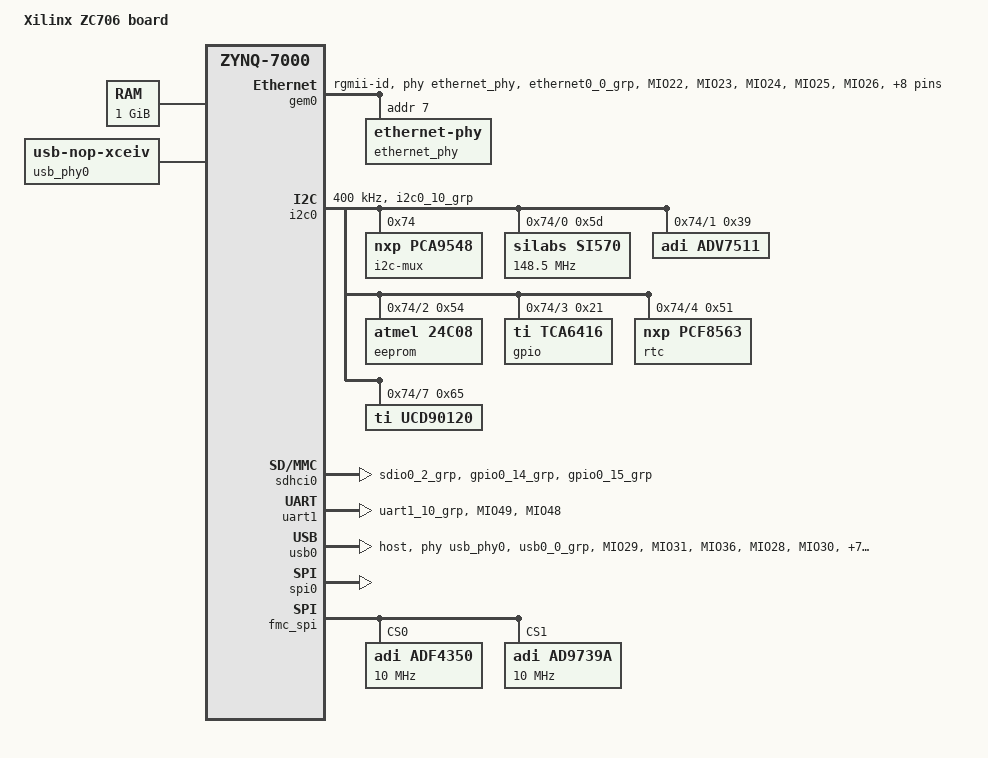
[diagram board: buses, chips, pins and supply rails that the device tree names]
// SPDX-License-Identifier: GPL-2.0
/*
 *  Copyright (C) 2011 - 2014 Xilinx
 *  Copyright (C) 2012 National Instruments Corp.
 */
/dts-v1/;
#include "zynq-7000.dtsi"
#include <dt-bindings/interrupt-controller/irq.h>

/ {
	model = "Xilinx ZC706 board";
	compatible = "xlnx,zynq-zc706", "xlnx,zynq-7000";

	aliases {
		ethernet0 = &gem0;
		i2c0 = &i2c0;
		serial0 = &uart1;
		mmc0 = &sdhci0;
	};

	memory@0 {
		device_type = "memory";
		reg = <0x0 0x40000000>;
	};

	chosen {
		bootargs = "";
		stdout-path = "serial0:115200n8";
	};

	usb_phy0: phy0 {
		compatible = "usb-nop-xceiv";
		#phy-cells = <0>;
	};
};

&clkc {
	ps-clk-frequency = <33333333>;
};

&gem0 {
	status = "okay";
	phy-mode = "rgmii-id";
	phy-handle = <&ethernet_phy>;
	pinctrl-names = "default";
	pinctrl-0 = <&pinctrl_gem0_default>;

	ethernet_phy: ethernet-phy@7 {
		reg = <7>;
		device_type = "ethernet-phy";
	};
};

&gpio0 {
	pinctrl-names = "default";
	pinctrl-0 = <&pinctrl_gpio0_default>;
};

&i2c0 {
	status = "okay";
	clock-frequency = <400000>;
	pinctrl-names = "default";
	pinctrl-0 = <&pinctrl_i2c0_default>;

	i2c-mux@74 {
		compatible = "nxp,pca9548";
		#address-cells = <1>;
		#size-cells = <0>;
		reg = <0x74>;

		i2c@0 {
			#address-cells = <1>;
			#size-cells = <0>;
			reg = <0>;
			si570: clock-generator@5d {
				#clock-cells = <0>;
				compatible = "silabs,si570";
				temperature-stability = <50>;
				reg = <0x5d>;
				factory-fout = <156250000>;
				clock-frequency = <148500000>;
			};
		};

		i2c@1 {
			#address-cells = <1>;
			#size-cells = <0>;
			reg = <1>;
			adv7511: hdmi-tx@39 {
				compatible = "adi,adv7511";
				reg = <0x39>;
				adi,input-depth = <8>;
				adi,input-colorspace = "yuv422";
				adi,input-clock = "1x";
				adi,input-style = <3>;
				adi,input-justification = "evenly";
			};
		};

		i2c@2 {
			#address-cells = <1>;
			#size-cells = <0>;
			reg = <2>;
			eeprom@54 {
				compatible = "atmel,24c08";
				reg = <0x54>;
			};
		};

		i2c@3 {
			#address-cells = <1>;
			#size-cells = <0>;
			reg = <3>;
			gpio@21 {
				compatible = "ti,tca6416";
				reg = <0x21>;
				gpio-controller;
				#gpio-cells = <2>;
			};
		};

		i2c@4 {
			#address-cells = <1>;
			#size-cells = <0>;
			reg = <4>;
			rtc@51 {
				compatible = "nxp,pcf8563";
				reg = <0x51>;
			};
		};

		i2c@7 {
			#address-cells = <1>;
			#size-cells = <0>;
			reg = <7>;
			ucd90120@65 {
				compatible = "ti,ucd90120";
				reg = <0x65>;
			};
		};
	};
};

&pinctrl0 {
	pinctrl_gem0_default: gem0-default {
		mux {
			function = "ethernet0";
			groups = "ethernet0_0_grp";
		};

		conf {
			groups = "ethernet0_0_grp";
			slew-rate = <0>;
			io-standard = <4>;
		};

		conf-rx {
			pins = "MIO22", "MIO23", "MIO24", "MIO25", "MIO26", "MIO27";
			bias-high-impedance;
			low-power-disable;
		};

		conf-tx {
			pins = "MIO16", "MIO17", "MIO18", "MIO19", "MIO20", "MIO21";
			low-power-enable;
			bias-disable;
		};

		mux-mdio {
			function = "mdio0";
			groups = "mdio0_0_grp";
		};

		conf-mdio {
			groups = "mdio0_0_grp";
			slew-rate = <0>;
			io-standard = <1>;
			bias-disable;
		};
	};

	pinctrl_gpio0_default: gpio0-default {
		mux {
			function = "gpio0";
			groups = "gpio0_7_grp", "gpio0_46_grp", "gpio0_47_grp";
		};

		conf {
			groups = "gpio0_7_grp", "gpio0_46_grp", "gpio0_47_grp";
			slew-rate = <0>;
			io-standard = <1>;
		};

		conf-pull-up {
			pins = "MIO46", "MIO47";
			bias-pull-up;
		};

		conf-pull-none {
			pins = "MIO7";
			bias-disable;
		};
	};

	pinctrl_i2c0_default: i2c0-default {
		mux {
			groups = "i2c0_10_grp";
			function = "i2c0";
		};

		conf {
			groups = "i2c0_10_grp";
			bias-pull-up;
			slew-rate = <0>;
			io-standard = <1>;
		};
	};

	pinctrl_sdhci0_default: sdhci0-default {
		mux {
			groups = "sdio0_2_grp";
			function = "sdio0";
		};

		conf {
			groups = "sdio0_2_grp";
			slew-rate = <0>;
			io-standard = <1>;
			bias-disable;
		};

		mux-cd {
			groups = "gpio0_14_grp";
			function = "sdio0_cd";
		};

		conf-cd {
			groups = "gpio0_14_grp";
			bias-high-impedance;
			bias-pull-up;
			slew-rate = <0>;
			io-standard = <1>;
		};

		mux-wp {
			groups = "gpio0_15_grp";
			function = "sdio0_wp";
		};

		conf-wp {
			groups = "gpio0_15_grp";
			bias-high-impedance;
			bias-pull-up;
			slew-rate = <0>;
			io-standard = <1>;
		};
	};

	pinctrl_uart1_default: uart1-default {
		mux {
			groups = "uart1_10_grp";
			function = "uart1";
		};

		conf {
			groups = "uart1_10_grp";
			slew-rate = <0>;
			io-standard = <1>;
		};

		conf-rx {
			pins = "MIO49";
			bias-high-impedance;
		};

		conf-tx {
			pins = "MIO48";
			bias-disable;
		};
	};

	pinctrl_usb0_default: usb0-default {
		mux {
			groups = "usb0_0_grp";
			function = "usb0";
		};

		conf {
			groups = "usb0_0_grp";
			slew-rate = <0>;
			io-standard = <1>;
		};

		conf-rx {
			pins = "MIO29", "MIO31", "MIO36";
			bias-high-impedance;
		};

		conf-tx {
			pins = "MIO28", "MIO30", "MIO32", "MIO33", "MIO34",
			       "MIO35", "MIO37", "MIO38", "MIO39";
			bias-disable;
		};
	};
};

&sdhci0 {
	status = "okay";
	pinctrl-names = "default";
	pinctrl-0 = <&pinctrl_sdhci0_default>;
};

&uart1 {
	status = "okay";
	pinctrl-names = "default";
	pinctrl-0 = <&pinctrl_uart1_default>;
};

&usb0 {
	status = "okay";
	dr_mode = "host";
	usb-phy = <&usb_phy0>;
	pinctrl-names = "default";
	pinctrl-0 = <&pinctrl_usb0_default>;
};

&spi0 {
	status = "okay";
};

#define fmc_spi spi0

/{
	adf4350_clkin: adf4350_clkin {
		compatible = "fixed-clock";
		#clock-cells = <0>;
		clock-frequency = <25000000>;
	};

	adf4350_clkout: adf4350_clkout {
		compatible = "fixed-clock";
		#clock-cells = <0>;
		clock-frequency = <2500000000>;
	};
};

&amba {
	tx_dma: tx-dmac@7c420000 {
		compatible = "adi,axi-dmac-1.00.a";
		reg = <0x7c420000 0x1000>;
		#dma-cells = <1>;
		interrupts = <0 56 IRQ_TYPE_LEVEL_HIGH>;
		clocks = <&clkc 16>;

		adi,channels {
			#size-cells = <0>;
			#address-cells = <1>;

			dma-channel@0 {
				reg = <0>;
				adi,source-bus-width = <256>;
				adi,source-bus-type = <0>;
				adi,destination-bus-width = <256>;
				adi,destination-bus-type = <2>;
			};
		};
	};

	axi_ad9739a_core: axi-ad9739a-lpc@74204000 {
		compatible = "adi,axi-dac-9.1.b";
		reg = < 0x74204000 0x4000 >;
		dmas = <&tx_dma 0>;
		dma-names = "tx";
		clocks = <&clkc 16>;
	};
};

&fmc_spi {
	adf4350: adf4350@0 {
		#address-cells = <1>;
		#size-cells = <0>;
		compatible = "adi,adf4350";
		reg = <0>;
		spi-max-frequency = <10000000>;
		clocks = <&adf4350_clkin>;
		clock-names = "clkin";
		adi,channel-spacing = <100000>;
		adi,power-up-frequency = <2500000000>;
		adi,phase-detector-polarity-positive-enable;
		adi,charge-pump-current = <2500>;
		adi,output-power = <3>;
		adi,aux-output-fundamental-enable;
	};

	ad9739a: ad9739a@1 {
		#address-cells = <1>;
		#size-cells = <0>;
		compatible = "adi,ad9739a";
		reg = <1>;
		spi-max-frequency = <10000000>;
		clocks = <&adf4350_clkout>;

		io-backends = <&axi_ad9739a_core>;
	};
};
